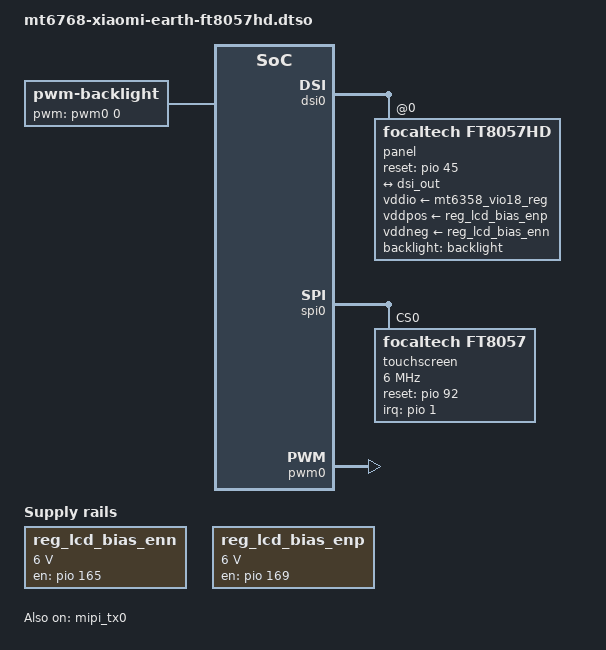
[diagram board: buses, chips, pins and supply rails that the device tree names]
// SPDX-License-Identifier: GPL-2.0+

/dts-v1/;
/plugin/;

#include <dt-bindings/gpio/gpio.h>
#include <dt-bindings/interrupt-controller/irq.h>
#include <dt-bindings/pinctrl/mediatek,mt6768-pinfunc.h>

&{/} {
	reg_lcd_bias_enn: regulator-lcd-bias-enn {
		compatible = "regulator-fixed";
		regulator-name = "lcd_bias_enn";
		regulator-min-microvolt = <6000000>;
		regulator-max-microvolt = <6000000>;
		gpio = <&pio 165 GPIO_ACTIVE_HIGH>;
		pinctrl-0 = <&panel_enn_pins>;
		pinctrl-names = "default";
		enable-active-high;
		startup-delay-us = <5000>;
	};

	reg_lcd_bias_enp: regulator-lcd-bias-enp {
		compatible = "regulator-fixed";
		regulator-name = "lcd_bias_enp";
		regulator-min-microvolt = <6000000>;
		regulator-max-microvolt = <6000000>;
		gpio = <&pio 169 GPIO_ACTIVE_HIGH>;
		pinctrl-0 = <&panel_enp_pins>;
		pinctrl-names = "default";
		enable-active-high;
		startup-delay-us = <3000>;
	};

	backlight: backlight {
		compatible = "pwm-backlight";
		pwms = <&pwm0 0 50000>;
	};
};

&dsi0 {
	#address-cells = <1>;
	#size-cells = <0>;
	status = "okay";

	panel: panel@0 {
		compatible = "focaltech,ft8057hd";
		reg = <0>;
		pinctrl-0 = <&panel_pins>;
		pinctrl-names = "default";

		vddio-supply = <&mt6358_vio18_reg>;
		vddpos-supply = <&reg_lcd_bias_enp>;
		vddneg-supply = <&reg_lcd_bias_enn>;
		reset-gpios = <&pio 45 GPIO_ACTIVE_HIGH>;

		backlight = <&backlight>;

		port {
			ft8057_in: endpoint {
				remote-endpoint = <&dsi_out>;
			};
		};
	};
};

&dsi_out {
	remote-endpoint = <&ft8057_in>;
};

&mipi_tx0 {
	status = "okay";
};

&spi0 {
	pinctrl-0 = <&spi0_pins>;
	pinctrl-names = "default";
	mediatek,pad-select = <0>;
	#address-cells = <1>;
	#size-cells = <0>;
	status = "okay";

	touchscreen@0 {
		compatible = "focaltech,ft8057";
		reg = <0>;
		pinctrl-0 = <&touch_pins>;
		pinctrl-names = "default";
		spi-max-frequency = <6000000>;
		spi-cs-setup-delay-ns = <230>;

		interrupts-extended = <&pio 1 IRQ_TYPE_EDGE_FALLING>;
		reset-gpios = <&pio 92 GPIO_ACTIVE_HIGH>;

		firmware-name = "focaltech_ts_fw_djn.bin";

		touchscreen-size-x = <720>;
		touchscreen-size-y = <1650>;
		panel = <&panel>;
	};
};

&pio {
	touch_pins: touch-pins {
		pins-int {
			pinmux = <PINMUX_GPIO1__FUNC_GPIO1>;
			input-enable;
			bias-disable;
		};

		pins-rst {
			pinmux = <PINMUX_GPIO92__FUNC_GPIO92>;
			bias-disable;
		};
	};

	panel_pins: panel-pins {
		pins-rst {
			pinmux = <PINMUX_GPIO45__FUNC_GPIO45>;
			bias-disable;
		};
	};

	panel_enp_pins: panel-enp-pins {
		pins-en {
			pinmux = <PINMUX_GPIO169__FUNC_GPIO169>;
			bias-disable;
		};
	};

	panel_enn_pins: panel-enn-pins {
		pins-en {
			pinmux = <PINMUX_GPIO165__FUNC_GPIO165>;
			bias-disable;
		};
	};

	lcd_disp_pwm: lcd-disp-pwm {
		pins-pwm {
			pinmux = <PINMUX_GPIO43__FUNC_DISP_PWM>;
		};
	};
};

&pwm0 {
	status = "okay";
	pinctrl-names = "default";
	pinctrl-0 = <&lcd_disp_pwm>;
};
